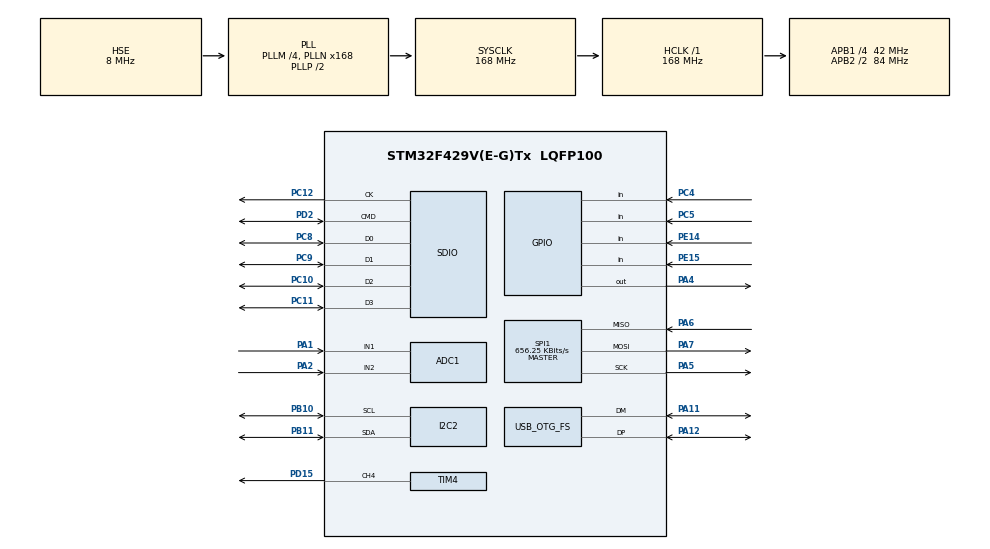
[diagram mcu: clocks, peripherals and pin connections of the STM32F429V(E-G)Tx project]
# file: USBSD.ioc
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ADC1.Channel-0\#ChannelRegularConversion=ADC_CHANNEL_1
ADC1.Channel-1\#ChannelRegularConversion=ADC_CHANNEL_2
ADC1.ExternalTrigConv=ADC_EXTERNALTRIGCONV_T4_CC4
ADC1.InjNumberOfConversion=0
ADC1.NbrOfConversion=2
ADC1.NbrOfConversionFlag=1
ADC1.Rank-0\#ChannelRegularConversion=1
ADC1.Rank-1\#ChannelRegularConversion=2
ADC1.SamplingTime-0\#ChannelRegularConversion=ADC_SAMPLETIME_112CYCLES
ADC1.SamplingTime-1\#ChannelRegularConversion=ADC_SAMPLETIME_3CYCLES
ADC1.ScanConvMode=ENABLE
ADC1.master=1
Dma.ADC1.2.Direction=DMA_PERIPH_TO_MEMORY
Dma.ADC1.2.FIFOMode=DMA_FIFOMODE_ENABLE
Dma.ADC1.2.FIFOThreshold=DMA_FIFO_THRESHOLD_FULL
Dma.ADC1.2.Instance=DMA2_Stream0
Dma.ADC1.2.MemBurst=DMA_MBURST_SINGLE
Dma.ADC1.2.MemDataAlignment=DMA_MDATAALIGN_HALFWORD
Dma.ADC1.2.MemInc=DMA_MINC_ENABLE
Dma.ADC1.2.Mode=DMA_CIRCULAR
Dma.ADC1.2.PeriphBurst=DMA_PBURST_SINGLE
Dma.ADC1.2.PeriphDataAlignment=DMA_PDATAALIGN_HALFWORD
Dma.ADC1.2.PeriphInc=DMA_PINC_DISABLE
Dma.ADC1.2.Priority=DMA_PRIORITY_MEDIUM
Dma.Request0=SDIO_RX
Dma.Request1=SDIO_TX
Dma.Request2=ADC1
Dma.SDIO_RX.0.Direction=DMA_PERIPH_TO_MEMORY
Dma.SDIO_RX.0.FIFOMode=DMA_FIFOMODE_ENABLE
Dma.SDIO_RX.0.FIFOThreshold=DMA_FIFO_THRESHOLD_FULL
Dma.SDIO_RX.0.Instance=DMA2_Stream3
Dma.SDIO_RX.0.MemBurst=DMA_MBURST_INC4
Dma.SDIO_RX.0.MemDataAlignment=DMA_MDATAALIGN_WORD
Dma.SDIO_RX.0.MemInc=DMA_MINC_ENABLE
Dma.SDIO_RX.0.Mode=DMA_PFCTRL
Dma.SDIO_RX.0.PeriphBurst=DMA_PBURST_INC4
Dma.SDIO_RX.0.PeriphDataAlignment=DMA_PDATAALIGN_WORD
Dma.SDIO_RX.0.PeriphInc=DMA_PINC_DISABLE
Dma.SDIO_RX.0.Priority=DMA_PRIORITY_VERY_HIGH
Dma.SDIO_TX.1.Direction=DMA_MEMORY_TO_PERIPH
Dma.SDIO_TX.1.FIFOMode=DMA_FIFOMODE_ENABLE
Dma.SDIO_TX.1.FIFOThreshold=DMA_FIFO_THRESHOLD_FULL
Dma.SDIO_TX.1.Instance=DMA2_Stream6
Dma.SDIO_TX.1.MemBurst=DMA_MBURST_INC4
Dma.SDIO_TX.1.MemDataAlignment=DMA_MDATAALIGN_WORD
Dma.SDIO_TX.1.MemInc=DMA_MINC_ENABLE
Dma.SDIO_TX.1.Mode=DMA_PFCTRL
Dma.SDIO_TX.1.PeriphBurst=DMA_PBURST_INC4
Dma.SDIO_TX.1.PeriphDataAlignment=DMA_PDATAALIGN_WORD
Dma.SDIO_TX.1.PeriphInc=DMA_PINC_DISABLE
Dma.SDIO_TX.1.Priority=DMA_PRIORITY_VERY_HIGH
FATFS.USE_DMA_CODE_SD=1
FATFS._CODE_PAGE=936
FATFS._USE_LFN=1
I2C2.I2C_Mode=I2C_Fast
Mcu.Family=STM32F4
Mcu.Name=STM32F429V(E-G)Tx
Mcu.Package=LQFP100
NVIC.DMA2_Stream0_IRQn=true\:13\:0\:true\:false\:true\:false\:true\:true
NVIC.DMA2_Stream3_IRQn=true\:12\:0\:true\:false\:true\:false\:true\:true
NVIC.DMA2_Stream6_IRQn=true\:12\:0\:true\:false\:true\:false\:true\:true
NVIC.OTG_FS_IRQn=true\:3\:0\:true\:false\:true\:false\:true\:true
NVIC.PriorityGroup=NVIC_PRIORITYGROUP_4
NVIC.SDIO_IRQn=true\:8\:0\:true\:false\:true\:true\:true\:true
NVIC.TIM3_IRQn=true\:1\:0\:true\:false\:true\:true\:true\:true
PA1.Signal=ADCx_IN1
PA11.Mode=Device_Only
PA11.Signal=USB_OTG_FS_DM
PA12.Mode=Device_Only
PA12.Signal=USB_OTG_FS_DP
PA13.Mode=Serial_Wire
PA13.Signal=SYS_JTMS-SWDIO
PA14.Mode=Serial_Wire
PA14.Signal=SYS_JTCK-SWCLK
PA2.Signal=ADCx_IN2
PA4.GPIO_ModeDefaultOutputPP=GPIO_MODE_OUTPUT_OD
PA4.GPIO_PuPd=GPIO_NOPULL
PA4.Signal=GPIO_Output
PA5.Mode=Full_Duplex_Master
PA5.Signal=SPI1_SCK
PA6.Mode=Full_Duplex_Master
PA6.Signal=SPI1_MISO
PA7.Mode=Full_Duplex_Master
PA7.Signal=SPI1_MOSI
PB10.Mode=I2C
PB10.Signal=I2C2_SCL
PB11.Mode=I2C
PB11.Signal=I2C2_SDA
PC10.Mode=SD_4_bits_Wide_bus
PC10.Signal=SDIO_D2
PC11.Mode=SD_4_bits_Wide_bus
PC11.Signal=SDIO_D3
PC12.Mode=SD_4_bits_Wide_bus
PC12.Signal=SDIO_CK
PC14/OSC32_IN.Mode=LSE-External-Oscillator
PC14/OSC32_IN.Signal=RCC_OSC32_IN
PC15/OSC32_OUT.Mode=LSE-External-Oscillator
PC15/OSC32_OUT.Signal=RCC_OSC32_OUT
PC4.Signal=GPIO_Input
PC5.Signal=GPIO_Input
PC8.GPIO_PuPd=GPIO_NOPULL
PC8.Mode=SD_4_bits_Wide_bus
PC8.Signal=SDIO_D0
PC9.Mode=SD_4_bits_Wide_bus
PC9.Signal=SDIO_D1
PD15.Signal=S_TIM4_CH4
PD2.Mode=SD_4_bits_Wide_bus
PD2.Signal=SDIO_CMD
PE14.Signal=GPIO_Input
PE15.Signal=GPIO_Input
PH0/OSC_IN.Mode=HSE-External-Oscillator
PH0/OSC_IN.Signal=RCC_OSC_IN
PH1/OSC_OUT.Mode=HSE-External-Oscillator
PH1/OSC_OUT.Signal=RCC_OSC_OUT
ProjectManager.HeapSize=0x2000
ProjectManager.StackSize=0x2000
ProjectManager.TargetToolchain=MDK-ARM V5.27
RCC.48MHZClocksFreq_Value=48000000
RCC.AHBFreq_Value=168000000
RCC.APB1CLKDivider=RCC_HCLK_DIV4
RCC.APB1Freq_Value=42000000
RCC.APB1TimFreq_Value=84000000
RCC.APB2CLKDivider=RCC_HCLK_DIV2
RCC.APB2Freq_Value=84000000
RCC.APB2TimFreq_Value=168000000
RCC.CortexFreq_Value=168000000
RCC.HCLKFreq_Value=168000000
RCC.HSE_VALUE=8000000
RCC.HSI_VALUE=16000000
RCC.PLLM=4
RCC.PLLN=168
RCC.PLLQ=7
RCC.SYSCLKFreq_VALUE=168000000
RCC.SYSCLKSource=RCC_SYSCLKSOURCE_PLLCLK
RCC.VCOOutputFreq_Value=336000000
SDIO.ClockDiv=2
SDIO.HardwareFlowControl=SDIO_HARDWARE_FLOW_CONTROL_ENABLE
SH.ADCx_IN1.0=ADC1_IN1,IN1
SH.ADCx_IN2.0=ADC1_IN2,IN2
SH.S_TIM4_CH4.0=TIM4_CH4,PWM Generation4 CH4
SPI1.BaudRatePrescaler=SPI_BAUDRATEPRESCALER_128
SPI1.CLKPhase=SPI_PHASE_2EDGE
SPI1.CLKPolarity=SPI_POLARITY_HIGH
SPI1.CalculateBaudRate=656.25 KBits/s
SPI1.DataSize=SPI_DATASIZE_16BIT
SPI1.Direction=SPI_DIRECTION_2LINES
SPI1.Mode=SPI_MODE_MASTER
SPI1.VirtualType=VM_MASTER
TIM2.Period=65535
TIM2.Prescaler=84-1
TIM3.Period=40-1
TIM3.Prescaler=8400-1
TIM4.Channel-PWM\ Generation4\ CH4=TIM_CHANNEL_4
TIM4.Period=40-1
TIM4.Prescaler=84-1
TIM4.Pulse-PWM\ Generation4\ CH4=20
USB_DEVICE.CLASS_NAME_FS=MSC
USB_DEVICE.VirtualMode-MSC_FS=Msc
USB_DEVICE.VirtualModeFS=Msc_FS
USB_OTG_FS.VirtualMode=Device_Only
VP_FATFS_VS_SDIO.Mode=SDIO
VP_TIM2_VS_ClockSourceINT.Mode=Internal
VP_TIM3_VS_ClockSourceINT.Mode=Internal
VP_TIM4_VS_ClockSourceINT.Mode=Internal
VP_USB_DEVICE_VS_USB_DEVICE_MSC_FS.Mode=MSC_FS
board=custom

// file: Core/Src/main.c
/* USER CODE BEGIN Header */
/**
  ******************************************************************************
  * @file           : main.c
  * @brief          : Main program body
  ******************************************************************************
  * @attention
  *
  * Copyright (c) 2023 STMicroelectronics.
  * All rights reserved.
  *
  * This software is licensed under terms that can be found in the LICENSE file
  * in the root directory of this software component.
  * If no LICENSE file comes with this software, it is provided AS-IS.
  *
  ******************************************************************************
  */

/**				模拟声音ADC不用改
 *	MIC1_OUT-------PA1(24)
 *	MIC2_OUT-------PA2(25)
 *				新惯导要改
 *	SPI1_NSS-------PA4(29)
 *	SPI1_SCK-------PA5(30)
 *	SPI1_MISO------PA6(31)
 *	SPI1_MOSI------PA7(32)
 *	DR 			-------PC4(33)
 *	SYNC		-------PC5(34)
 *				USB接口不用改
 *	USB_D+  -------PA11(70)
 *	USB_D-  -------PA12(71)
 *				SD卡不用改
 *	SD_DATA0-------PC8(65)
 *	SD_DATA1-------PC9(66)
 *	SD_DATA2-------PC10(78)
 *	SD_DATA3-------PC11(79)
 *	SD_CLK---------PC12(80)
 *	SD_CMD---------PD2(83)
 *	SD_DETECT------PD3(84)
 *				新磁力计要改
 *	LIS3M_INT------PE14(45)
 *	LIS3M_RD-------PE15(46)
 *	LIS3M_SCL------PB10(47)
 *	LIS3M_SDA------PB11(48)
 */
/* USER CODE END Header */
#include "main.h"
#include "adc.h"
#include "dma.h"
#include "fatfs.h"

#include "sdio.h"
#include "spi.h"
#include "tim.h"
#include "usb_device.h"
#include "gpio.h"

/* USER CODE BEGIN Includes */
#include "ADXIS.h"
/* USER CODE END Includes */

void SystemClock_Config(void);

/* USER CODE BEGIN 0 */

FATFS SDFatFs;  /* File system object for SD card logical drive */
FIL MyFile;     /* File object */

FIL filobj;			// 主要用在配置文件
UINT brs;
FIL fADI;				// 惯导传感器ADIS16470文件对象
FIL fICM;				// 惯导传感器ICM20948文件对象
FIL fLM;				// 模拟声音传感器文件对象

extern volatile uint8_t bDeviceState;		//USB连接 情况
extern USBD_HandleTypeDef hUsbDeviceFS;
uint8_t flag_1=0;			//中断采集数据就就绪,可写声音传感器文件标志,刚开始没得写
uint8_t flag_2=0;			//中断采集数据就就绪,可写惯导传感器文件标志,刚开始没得写

uint8_t BZ_1=1;				//写声音文件操作已完成，可进行声音采集,刚开始就先采集
uint8_t BZ_2=1;				//写惯导文件操作已完成，可进行惯导采集,刚开始就先采集

#define DMA_Size 750  //采样点数
uint16_t ADC_DMA_ConvertedValue_0[DMA_Size*2];//DMA双缓冲
uint16_t ADC_DMA_ConvertedValue_1[DMA_Size*2];
extern	uint8_t adcx[DMA_Size*3];
extern	uint8_t ttbuf[180];
FRESULT fr;
/* USER CODE END 0 */

int main(void)
{
		/* USER CODE BEGIN 1 */

		//-------------------------------------------------------------
		static int res;
		int lsk_1 = 100;
		int lsk_2 = 100;
		uint8_t information[] = "检测球编号:smartball_1\n当前文件:";//32
		uint8_t inf_file_ctent[42];										//存information文件内容
		int inf_file_size = 0;												//information文件中实际内容大小
		int index_bit = 0;														//记录标号位数
		uint8_t biao[10];															//定义一个很大的数作为标号上限
		int sum = 0;
		int m;
		int n;																				//权重
		char dir_path[40] = "0:data_";								//文件路径
		int len;
		// uint8_t ICM[12] 	= "ICM20948.dat";
		uint8_t ADIS[13] 	= "ADIS16470.dat";
		uint8_t SHP[11] 	= "SHP0645.dat";
		uint8_t LM[9] 		= "LM386.dat";
		char fil_path_1[40];
		// char fil_path_2[40];
		char fil_path_3[40];
		uint8_t ICM20948[100] = "传感器名称:惯导传感器ICM20948\n测试时间:2022年03月01日10:00\n采样间隔:100ms\n";
		uint8_t ADIS16470[100]= "传感器名称:惯导传感器ADIS16470\n测试时间:2022年03月01日10:00\n采样间隔:100ms\n";
		uint8_t SHP0645[100] 	= "传感器名称:音频传感器SHP0645\n测试时间:2022年03月01日10:00\n采样间隔:100ms\n";
		uint8_t LM386[100] 		= "传感器名称:音频传感器LM386\n测试时间:2022年03月01日10:00\n采样间隔:100ms\n";

		static HAL_StatusTypeDef status;
		/* USER CODE END 1 */

		/* MCU Configuration--------------------------------------------------------*/

		/* Reset of all peripherals, Initializes the Flash interface and the Systick. */
		HAL_Init();

		/* Configure the system clock */
		SystemClock_Config();

		/* USER CODE BEGIN SysInit */
		// MX_TIM2_Init();
		HAL_Delay(50);
		/* USER CODE END SysInit */

		/* Initialize all configured peripherals */
		MX_GPIO_Init();
		MX_DMA_Init();
		MX_SDIO_SD_Init();
		MX_FATFS_Init();
		MX_USB_DEVICE_Init();
		MX_ADC1_Init();
		MX_TIM2_Init();
		// MX_TIM3_Init();
		// MX_TIM4_Init();
		MX_SPI1_Init();
		MX_I2C2_Init();
		/* USER CODE BEGIN 2 */
		HAL_Delay(50);
		ADX_Init();
		HAL_Delay(50);
		//res = LIS3MDL_MagInit();

	//	while (1) {
	//	}

		/*##-2- Register the file system object to the FatFs module ##############*/
			if(f_mount(&SDFatFs, /*(TCHAR const*)SDPath*/"0:", 0) != FR_OK) {
				/* FatFs Initialization Error */
				Error_Handler();
			}
			//新建information文件，读标号、写新标号、写文件路径
			f_mkdir("0:information_file");
			//在information中写入前导信息
			fr = f_open(&filobj,"0:information_file/information.inf",FA_CREATE_NEW|FA_WRITE);
			fr = f_write(&filobj,information,32,(void *)&brs);
			f_close(&filobj);

			fr = f_open(&filobj,"0:information_file/information.inf",FA_WRITE|FA_READ);
			fr = f_read(&filobj,inf_file_ctent,42,&brs);
			inf_file_size=f_size(&filobj);//读文件内容实际长度
			index_bit=inf_file_size-32;

			for(int i = 0; i < index_bit; i++) {//取出标号得到整形数
				biao[i] = inf_file_ctent[32+i];
				sum *= 10;
				biao[i] = biao[i] - 0x30;
				sum = sum + biao[i];
			}

			if((sum==9)|(sum==99)|(sum==999)|(sum==9999)|(sum==99999)|(sum==999999)|(sum==9999999)){
				index_bit = index_bit + 1;		//判断是否有位数变化
			}
			sum = sum + 1;

			for(int i = 0; i < index_bit; i++) {//复原为ASCII码数字
				m = index_bit - i - 1;
				n = 1;
				for(int j = 0; j < m; j++) {
					n = n * 10;
				}
				biao[i] = (sum / n) + 0x30;
				sum = sum % n;
			}

			//把更新后的标号存入information文件，为下次上电新建文件做准备
			f_close(&filobj);
			fr = f_open(&filobj,"0:information_file/information.inf",FA_READ|FA_WRITE);
			f_lseek(&filobj,32);//确定一下指针到底指在哪
			f_write(&filobj,biao,index_bit,&brs);//更新后的标号内容和位数
			f_close(&filobj);

			len=strlen(dir_path);//取字符串数组实际长度
			for(int i = 0; i < index_bit; i++) {
				dir_path[len+i]=biao[i];//连接字符
			}
			f_mkdir((const TCHAR*)&dir_path);//新建数据文件夹
			for(int i = 0; i < (7+index_bit); i++)
			{
				fil_path_1[i]=dir_path[i];
	//			fil_path_2[i]=dir_path[i];
				fil_path_3[i]=dir_path[i];
			}
			len=strlen(dir_path);
			fil_path_1[len]=47;
	//		fil_path_2[len]=47;
			fil_path_3[len]=47;
			for(int i = 0; i < 13; i++)
			fil_path_1[len+1+i] = ADIS[i];
	//		for(int i = 0; i < 11; i++)
	//		fil_path_2[len+1+i] = SHP[i];
			for(int i = 0; i < 9; i++)
			fil_path_3[len+1+i] = LM[i];

			//新建数据文件
			fr = f_open(&fADI, (const TCHAR*)&fil_path_1, FA_CREATE_NEW | FA_WRITE);
			fr = f_write(&fADI,ADIS16470,100,&brs);
			f_sync(&fADI);

			fr = f_open(&fLM, (const TCHAR*)&fil_path_3, FA_CREATE_NEW | FA_WRITE);
			fr = f_write(&fLM, LM386, 100, &brs);
			f_sync(&fLM);

			MX_TIM3_Init();//50Hz，理论30S要写入27KB
			MX_TIM4_Init();//双通道，理论上30S写入2250KB

			HAL_DMAEx_MultiBufferStart_IT((&hadc1)->DMA_Handle,(uint32_t)&hadc1.Instance->DR,(uint32_t)&ADC_DMA_ConvertedValue_0,(uint32_t)&ADC_DMA_ConvertedValue_1,DMA_Size*2);
			status = HAL_ADC_Start_DMA(&hadc1,(uint32_t *)ADC_DMA_ConvertedValue_0, DMA_Size*2);
		/* USER CODE END 2 */

		/* Infinite loop */
		/* USER CODE BEGIN WHILE */
		while (1)
		{

			if(hUsbDeviceFS.dev_state != USBD_STATE_CONFIGURED)//USB没连接可写数据
			{
				if(flag_1==1)//写声音传感器
				{
					fr=f_lseek(&fLM,lsk_1);
					lsk_1=lsk_1+(DMA_Size*3);
					fr=f_write(&fLM,adcx,DMA_Size*3,&brs);
					f_sync(&fLM);
					flag_1=0;
					BZ_1=1;
				}
				if(flag_2==1)//写惯导数据
				{
					fr=f_lseek(&fADI,lsk_2);
					lsk_2=lsk_2+180;
					fr=f_write(&fADI,ttbuf,180,&brs);
					f_sync(&fADI);
					flag_2=0;
					BZ_2=1;
				}
			}

			/* USER CODE END WHILE */

		}
}

void SystemClock_Config(void)
{
  RCC_OscInitTypeDef RCC_OscInitStruct = {0};
  RCC_ClkInitTypeDef RCC_ClkInitStruct = {0};

  /** Configure the main internal regulator output voltage
  */
  __HAL_RCC_PWR_CLK_ENABLE();
  __HAL_PWR_VOLTAGESCALING_CONFIG(PWR_REGULATOR_VOLTAGE_SCALE1);

  /** Initializes the RCC Oscillators according to the specified parameters
  * in the RCC_OscInitTypeDef structure.
  */
  RCC_OscInitStruct.OscillatorType = RCC_OSCILLATORTYPE_HSE;
  RCC_OscInitStruct.HSEState = RCC_HSE_ON;
  RCC_OscInitStruct.PLL.PLLState = RCC_PLL_ON;
  RCC_OscInitStruct.PLL.PLLSource = RCC_PLLSOURCE_HSE;
  RCC_OscInitStruct.PLL.PLLM = 4;
  RCC_OscInitStruct.PLL.PLLN = 168;
  RCC_OscInitStruct.PLL.PLLP = RCC_PLLP_DIV2;
  RCC_OscInitStruct.PLL.PLLQ = 7;
  if (HAL_RCC_OscConfig(&RCC_OscInitStruct) != HAL_OK)
  {
    Error_Handler();
  }

  /** Initializes the CPU, AHB and APB buses clocks
  */
  RCC_ClkInitStruct.ClockType = RCC_CLOCKTYPE_HCLK|RCC_CLOCKTYPE_SYSCLK
                              |RCC_CLOCKTYPE_PCLK1|RCC_CLOCKTYPE_PCLK2;
  RCC_ClkInitStruct.SYSCLKSource = RCC_SYSCLKSOURCE_PLLCLK;
  RCC_ClkInitStruct.AHBCLKDivider = RCC_SYSCLK_DIV1;
  RCC_ClkInitStruct.APB1CLKDivider = RCC_HCLK_DIV4;
  RCC_ClkInitStruct.APB2CLKDivider = RCC_HCLK_DIV2;

  if (HAL_RCC_ClockConfig(&RCC_ClkInitStruct, FLASH_LATENCY_5) != HAL_OK)
  {
    Error_Handler();
  }
}

/* USER CODE BEGIN 4 */
void HAL_Delay_us(uint16_t differ)
{
    __HAL_TIM_SetCounter(&htim2,0);
    while(__HAL_TIM_GetCounter(&htim2)<differ)
    {
    }
}
/* USER CODE END 4 */

void Error_Handler(void)
{
  __disable_irq();
  while (1)
  {
  }
}
